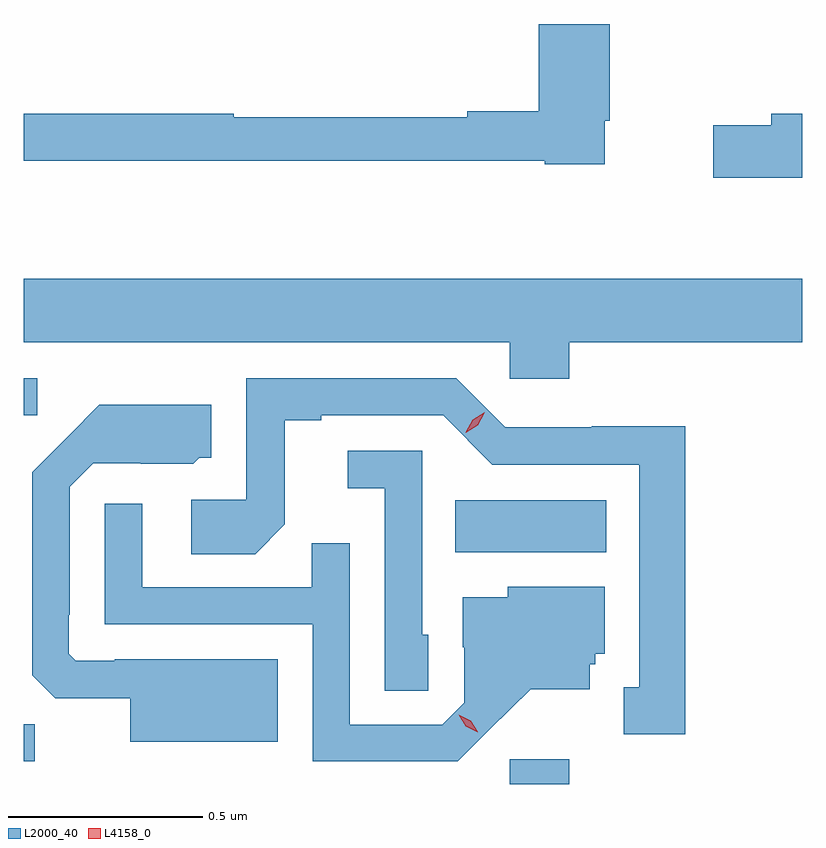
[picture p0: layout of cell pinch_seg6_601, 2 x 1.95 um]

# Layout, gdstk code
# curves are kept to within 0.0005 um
import gdstk
lib = gdstk.Library(unit=1e-6, precision=1e-09)
def R(c, l, rs):  # rectangles x0, y0, x1, y1
    for r in rs: c.add(gdstk.rectangle(r[:2], r[2:], *l))
def P(c, l, *ps):  # polygons
    for p in ps: c.add(gdstk.Polygon(p, *l))
L2000_40 = (2000, 40)
L4158_0 = (4158, 0)

pinch_seg6_601 = lib.new_cell('pinch_seg6_601')
R(pinch_seg6_601, L2000_40, [(623.022,970.177,623.174,970.24), (621.773,970.236,621.801,970.331), (622.882,970.772,623.269,970.906), (621.773,971.124,621.808,971.22)])
P(pinch_seg6_601, L2000_40, [(623.266,971.881),(623.279,971.881),(623.279,972.13),(623.096,972.13),(623.096,971.906),(622.912,971.906),(622.912,971.891),(622.312,971.891),(622.312,971.899),(621.773,971.899),(621.773,971.778),(623.112,971.778),(623.112,971.77),(623.266,971.77)],
  [(623.773,971.9),(623.693,971.9),(623.693,971.87),(623.544,971.87),(623.544,971.735),(623.773,971.735)],
  [(623.174,971.312),(623.773,971.312),(623.773,971.476),(621.773,971.476),(621.773,971.312),(623.022,971.312),(623.022,971.219),(623.174,971.219)],
  [(623.473,971.096),(623.232,971.096),(623.232,971.094),(623.01,971.094),(622.884,971.22),(622.344,971.22),(622.344,970.908),(622.203,970.908),(622.203,970.768),(622.367,970.768),(622.443,970.844),(622.443,971.112),(622.537,971.112),(622.537,971.124),(622.851,971.124),(622.977,970.998),(623.354,970.998),(623.354,970.425),(623.315,970.425),(623.315,970.305),(623.473,970.305)],
  [(622.426,970.498),(622.006,970.498),(622.006,970.494),(621.906,970.494),(621.888,970.512),(621.888,970.612),(621.891,970.612),(621.891,970.941),(621.951,971.001),(622.074,971.001),(622.074,971),(622.208,971),(622.224,971.016),(622.255,971.016),(622.255,971.152),(621.967,971.152),(621.795,970.978),(621.795,970.456),(621.854,970.397),(622.046,970.397),(622.046,970.286),(622.426,970.286)],
  [(622.812,970.56),(622.797,970.56),(622.797,971.034),(622.605,971.034),(622.605,970.937),(622.701,970.937),(622.701,970.417),(622.812,970.417)],
  [(622.972,970.319),(623.075,970.421),(623.227,970.421),(623.227,970.485),(623.241,970.485),(623.241,970.512),(623.266,970.512),(623.266,970.684),(623.016,970.684),(623.016,970.657),(622.901,970.657),(622.901,970.528),(622.905,970.528),(622.905,970.386),(622.848,970.329),(622.611,970.329),(622.611,970.796),(622.513,970.796),(622.513,970.683),(622.077,970.683),(622.077,970.897),(621.981,970.897),(621.981,970.587),(622.515,970.587),(622.515,970.236),(622.888,970.236)])
P(pinch_seg6_601, L4158_0, [(622.908,971.08),(622.908,971.081),(622.926,971.113),(622.958,971.132),(622.958,971.132),(622.958,971.132),(622.94,971.099),(622.908,971.08)],
  [(622.939,970.31),(622.908,970.325),(622.89,970.355),(622.89,970.355),(622.89,970.355),(622.921,970.34),(622.939,970.311),(622.939,970.31)])

lib.write_gds('pinch_seg6_601.gds')
